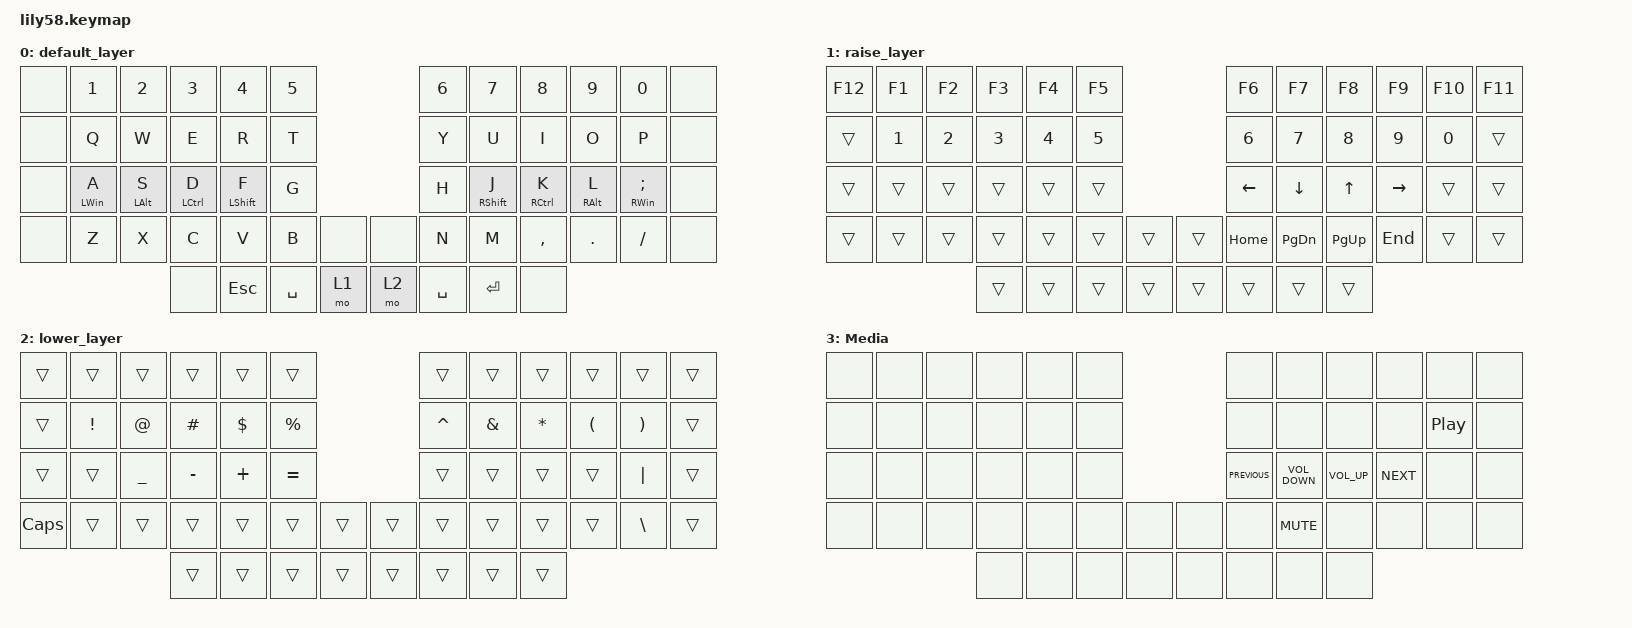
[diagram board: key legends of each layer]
/*
 * Copyright (c) 2020 The ZMK Contributors
 *
 * SPDX-License-Identifier: MIT
 */

#include <behaviors.dtsi>
#include <dt-bindings/zmk/keys.h>

&mt { quick-tap-ms = <200>; };

&sk { quick-release; };

/ {
    behaviors {
        hold_tap_left: hold_tap_left {
            compatible = "zmk,behavior-hold-tap";
            label = "HOLD_TAP_LEFT";
            bindings = <&kp>, <&kp>;

            #binding-cells = <2>;
            flavor = "balanced";
            tapping-term-ms = <280>;
            quick-tap-ms = <175>;
            require-prior-idle-ms = <150>;
            hold-trigger-key-positions = <6 7 8 9 10 11 18 19 20 21 22 23 30 31 32 33 34 35 43 44 45 46 47 48 49 55>;
            hold-trigger-on-release;
        };

        hold_tap_right: hold_tap_right {
            compatible = "zmk,behavior-hold-tap";
            label = "HOLD_TAP_RIGHT";
            bindings = <&kp>, <&kp>;

            #binding-cells = <2>;
            flavor = "balanced";
            tapping-term-ms = <280>;
            quick-tap-ms = <175>;
            require-prior-idle-ms = <150>;
            hold-trigger-on-release;
            hold-trigger-key-positions = <0 1 2 3 4 5 12 13 14 15 16 17 24 25 26 27 28 29 36 37 38 39 40 41 42 52>;
        };

        lpar_lt: lpar_lt {
            compatible = "zmk,behavior-mod-morph";
            label = "LPAR_LT";
            bindings = <&kp LEFT_PARENTHESIS>, <&kp LESS_THAN>;

            #binding-cells = <0>;
            mods = <(MOD_LSFT)>;
        };

        rpar_gt: rpar_gt {
            compatible = "zmk,behavior-mod-morph";
            label = "RPAR_GT";
            bindings = <&kp RIGHT_PARENTHESIS>, <&kp GREATER_THAN>;

            #binding-cells = <0>;
            mods = <(MOD_LSFT)>;
        };
    };

    combos {
        compatible = "zmk,combos";

        open-square-bracket {
            bindings = <&kp LEFT_BRACKET>;
            key-positions = <45 46>;
        };

        close-square-bracket {
            bindings = <&kp RIGHT_BRACKET>;
            key-positions = <46 47>;
        };

        lpar-lt {
            bindings = <&lpar_lt>;
            key-positions = <31 32>;
        };

        rpar-gt {
            bindings = <&rpar_gt>;
            key-positions = <32 33>;
        };

        backspacke {
            bindings = <&kp BACKSPACE>;
            key-positions = <19 20>;
        };

        del {
            bindings = <&kp DEL>;
            key-positions = <20 21>;
        };

        enter {
            bindings = <&kp ENTER>;
            key-positions = <28 27>;
        };

        grave-escape {
            bindings = <&gresc>;
            key-positions = <27 26>;
        };

        tab {
            bindings = <&kp TAB>;
            key-positions = <15 14>;
        };

        tilde {
            bindings = <&kp TILDE>;
            key-positions = <37 38>;
        };

        quote {
            bindings = <&kp SINGLE_QUOTE>;
            key-positions = <48 47>;
        };
    };

    keymap {
        compatible = "zmk,keymap";

        default_layer {
            // ------------------------------------------------------------------------------------------------------------
            // |  ESC  |  1  |  2  |  3   |  4   |  5   |                   |  6   |  7    |  8    |  9   |   0   |   `   |
            // |  TAB  |  Q  |  W  |  E   |  R   |  T   |                   |  Y   |  U    |  I    |  O   |   P   |   -   |
            // |  CTRL |  A  |  S  |  D   |  F   |  G   |                   |  H   |  J    |  K    |  L   |   ;   |   '   |
            // | SHIFT |  Z  |  X  |  C   |  V   |  B   |   "["  |  |  "]"  |  N   |  M    |  ,    |  .   |   /   | SHIFT |
            //                     | ALT  | GUI  | LOWER|  SPACE |  | ENTER | RAISE| BSPC  | GUI   |

            bindings = <
&none  &kp N1                     &kp N2                     &kp N3                         &kp N4                       &kp N5                     &kp N6     &kp N7                         &kp N8                           &kp N9                       &kp N0                               &none
&none  &kp Q                      &kp W                      &kp E                          &kp R                        &kp T                      &kp Y      &kp U                          &kp I                            &kp O                        &kp P                                &none
&none  &hold_tap_left LEFT_WIN A  &hold_tap_left LEFT_ALT S  &hold_tap_left LEFT_CONTROL D  &hold_tap_left LEFT_SHIFT F  &kp G                      &kp H      &hold_tap_right RIGHT_SHIFT J  &hold_tap_right RIGHT_CONTROL K  &hold_tap_right RIGHT_ALT L  &hold_tap_right RIGHT_WIN SEMICOLON  &none
&none  &kp Z                      &kp X                      &kp C                          &kp V                        &kp B      &none    &none  &kp N      &kp M                          &kp COMMA                        &kp DOT                      &kp FSLH                             &none
                                                             &none                          &kp ESCAPE                   &kp SPACE  &mo 1    &mo 2  &kp SPACE  &kp ENTER                      &none
            >;
        };

        raise_layer {
            // ------------------------------------------------------------------------------------------------------------
            // |       |     |     |      |      |      |                   |      |       |       |      |       |       |
            // |   `   |  1  |  2  |  3   |  4   |  5   |                   |  6   |   7   |   8   |  9   |   0   |       |
            // |   F1  |  F2 |  F3 |  F4  |  F5  |  F6  |                   |      |   <-  |   v   |  ^   |  ->   |       |
            // |   F7  |  F8 |  F9 |  F10 |  F11 |  F12 |        |  |       |  +   |   -   |   =   |  [   |   ]   |   \   |
            //                     |      |      |      |        |  |       |      |       |       |

            bindings = <
&kp F12  &kp F1  &kp F2  &kp F3  &kp F4  &kp F5                    &kp F6          &kp F7         &kp F8        &kp F9     &kp F10  &kp F11
&trans   &kp N1  &kp N2  &kp N3  &kp N4  &kp N5                    &kp N6          &kp N7         &kp N8        &kp N9     &kp N0   &trans
&trans   &trans  &trans  &trans  &trans  &trans                    &kp LEFT_ARROW  &kp DOWN       &kp UP_ARROW  &kp RIGHT  &trans   &trans
&trans   &trans  &trans  &trans  &trans  &trans  &trans    &trans  &kp HOME        &kp PAGE_DOWN  &kp PAGE_UP   &kp END    &trans   &trans
                         &trans  &trans  &trans  &trans    &trans  &trans          &trans         &trans
            >;
        };

        lower_layer {
            // ------------------------------------------------------------------------------------------------------------
            // | BTCLR | BT1 | BT2 |  BT3 |  BT4 |  BT5 |                   |      |       |       |      |       |       |
            // |  F1   |  F2 |  F3 |  F4  |  F5  |  F6  |                   |  F7  |  F8   |  F9   |  F10 |  F11  |  F12  |
            // |   `   |  !  |  @  |  #   |  $   |  %   |                   |  ^   |  &    |  *    |  (   |   )   |   ~   |
            // |       |     |     |      |      |      |        |  |       |      |  _    |  +    |  {   |   }   |  "|"  |
            //                     |      |      |      |        |  |       |      |       |       |

            bindings = <
&trans        &trans           &trans          &trans     &trans      &trans                         &trans     &trans         &trans        &trans                &trans                 &trans
&trans        &kp EXCLAMATION  &kp AT_SIGN     &kp POUND  &kp DOLLAR  &kp PERCENT                    &kp CARET  &kp AMPERSAND  &kp ASTERISK  &kp LEFT_PARENTHESIS  &kp RIGHT_PARENTHESIS  &trans
&trans        &trans           &kp UNDERSCORE  &kp MINUS  &kp PLUS    &kp EQUAL                      &trans     &trans         &trans        &trans                &kp PIPE               &trans
&kp CAPSLOCK  &trans           &trans          &trans     &trans      &trans       &trans    &trans  &trans     &trans         &trans        &trans                &kp BACKSLASH          &trans
                                               &trans     &trans      &trans       &trans    &trans  &trans     &trans         &trans
            >;
        };

        Media {
            bindings = <
&none  &none  &none  &none  &none  &none                  &none           &none              &none            &none       &none             &none
&none  &none  &none  &none  &none  &none                  &none           &none              &none            &none       &kp C_PLAY_PAUSE  &none
&none  &none  &none  &none  &none  &none                  &kp C_PREVIOUS  &kp C_VOLUME_DOWN  &kp C_VOLUME_UP  &kp C_NEXT  &none             &none
&none  &none  &none  &none  &none  &none  &none    &none  &none           &kp C_MUTE         &none            &none       &none             &none
                     &none  &none  &none  &none    &none  &none           &none              &none
            >;
        };
    };

    conditional_layers {
        compatible = "zmk,conditional-layers";

        media_layer_activation {
            if-layers = <1 2>;
            then-layer = <3>;
        };
    };
};
